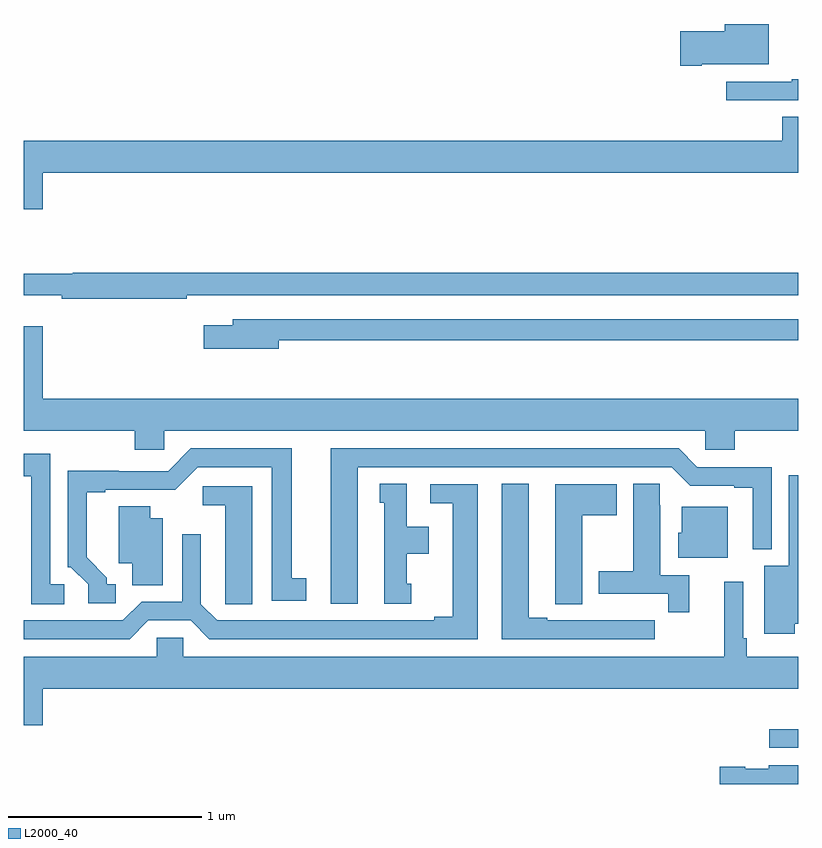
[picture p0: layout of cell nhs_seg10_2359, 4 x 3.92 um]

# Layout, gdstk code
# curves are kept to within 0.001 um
import gdstk
lib = gdstk.Library(unit=1e-6, precision=1e-09)
def R(c, l, rs):  # rectangles x0, y0, x1, y1
    for r in rs: c.add(gdstk.rectangle(r[:2], r[2:], *l))
def P(c, l, *ps):  # polygons
    for p in ps: c.add(gdstk.Polygon(p, *l))
L2000_40 = (2000, 40)

nhs_seg10_2359 = lib.new_cell('nhs_seg10_2359')
R(nhs_seg10_2359, L2000_40, [(240.849,1290.687,241,1290.783)])
P(nhs_seg10_2359, L2000_40, [(240.502,1294.214),(240.847,1294.214),(240.847,1294.423),(240.62,1294.423),(240.62,1294.385),(240.39,1294.385),(240.39,1294.207),(240.502,1294.207)],
  [(241,1294.138),(240.965,1294.138),(240.965,1294.125),(240.627,1294.125),(240.627,1294.029),(241,1294.029)],
  [(237.1,1293.656),(241,1293.656),(241,1293.944),(240.917,1293.944),(240.917,1293.82),(237,1293.82),(237,1293.468),(237.1,1293.468)],
  [(237.842,1293.024),(241,1293.024),(241,1293.14),(237.254,1293.14),(237.254,1293.133),(237,1293.133),(237,1293.023),(237.196,1293.023),(237.196,1293.004),(237.842,1293.004)],
  [(238.318,1292.79),(241,1292.79),(241,1292.898),(238.079,1292.898),(238.079,1292.869),(237.93,1292.869),(237.93,1292.747),(238.318,1292.747)],
  [(237.726,1292.324),(240.519,1292.324),(240.519,1292.226),(240.671,1292.226),(240.671,1292.324),(241,1292.324),(241,1292.488),(237.1,1292.488),(237.1,1292.863),(237,1292.863),(237,1292.324),(237.575,1292.324),(237.575,1292.226),(237.726,1292.226)],
  [(238.726,1292.136),(240.345,1292.136),(240.441,1292.04),(240.668,1292.04),(240.668,1292.028),(240.764,1292.028),(240.764,1291.712),(240.861,1291.712),(240.861,1292.136),(240.477,1292.136),(240.381,1292.232),(238.586,1292.232),(238.586,1291.431),(238.726,1291.431)],
  [(237.475,1291.53),(237.43,1291.53),(237.43,1291.565),(237.325,1291.67),(237.325,1292.007),(237.421,1292.007),(237.421,1292.019),(237.782,1292.018),(237.9,1292.136),(238.28,1292.136),(238.28,1291.446),(238.459,1291.446),(238.459,1291.562),(238.384,1291.562),(238.384,1292.232),(237.864,1292.232),(237.747,1292.115),(237.491,1292.115),(237.491,1292.117),(237.228,1292.117),(237.228,1291.62),(237.243,1291.62),(237.333,1291.53),(237.333,1291.434),(237.475,1291.434)],
  [(237.211,1291.53),(237.138,1291.53),(237.138,1292.205),(237,1292.205),(237,1292.089),(237.041,1292.089),(237.041,1291.429),(237.211,1291.429)],
  [(240.982,1291.328),(241,1291.328),(241,1292.095),(240.951,1292.095),(240.951,1291.627),(240.824,1291.627),(240.824,1291.275),(240.982,1291.275)],
  [(240.259,1291.344),(240.146,1291.344),(240.146,1291.345),(239.98,1291.345),(239.98,1291.344),(239.704,1291.344),(239.704,1291.359),(239.608,1291.359),(239.608,1292.051),(239.468,1292.051),(239.468,1291.248),(240.259,1291.248)],
  [(240.437,1291.578),(240.286,1291.578),(240.286,1291.94),(240.285,1291.94),(240.285,1292.051),(240.146,1292.051),(240.146,1291.599),(239.969,1291.599),(239.969,1291.482),(240.328,1291.482),(240.328,1291.386),(240.437,1291.386)],
  [(239.002,1291.533),(238.978,1291.533),(238.978,1291.688),(239.092,1291.688),(239.092,1291.828),(238.978,1291.828),(238.978,1292.051),(238.838,1292.051),(238.838,1291.953),(238.862,1291.953),(238.862,1291.431),(239.002,1291.431)],
  [(239.884,1291.888),(240.061,1291.888),(240.061,1292.047),(239.744,1292.047),(239.744,1291.537),(239.745,1291.537),(239.745,1291.429),(239.884,1291.429)],
  [(237.645,1291.344),(237.863,1291.344),(237.959,1291.248),(239.344,1291.248),(239.344,1292.046),(239.1,1292.046),(239.1,1291.95),(239.216,1291.95),(239.216,1291.364),(239.12,1291.364),(239.12,1291.344),(237.999,1291.344),(237.915,1291.428),(237.915,1291.789),(237.819,1291.789),(237.819,1291.44),(237.609,1291.44),(237.513,1291.344),(237,1291.344),(237,1291.248),(237.549,1291.248)],
  [(238.18,1292.037),(237.924,1292.037),(237.924,1291.94),(238.04,1291.94),(238.04,1291.537),(238.041,1291.537),(238.041,1291.429),(238.18,1291.429)],
  [(237.718,1291.873),(237.655,1291.873),(237.655,1291.934),(237.491,1291.934),(237.491,1291.64),(237.56,1291.64),(237.56,1291.525),(237.718,1291.525)],
  [(240.634,1291.93),(240.398,1291.93),(240.398,1291.797),(240.38,1291.797),(240.38,1291.667),(240.634,1291.667)],
  [(237.1,1290.992),(241,1290.992),(241,1291.156),(240.734,1291.156),(240.734,1291.252),(240.714,1291.252),(240.714,1291.543),(240.617,1291.543),(240.617,1291.156),(237.825,1291.156),(237.825,1291.254),(237.687,1291.254),(237.687,1291.156),(237,1291.156),(237,1290.804),(237.1,1290.804)],
  [(241,1290.598),(240.846,1290.598),(240.846,1290.58),(240.726,1290.58),(240.726,1290.588),(240.594,1290.588),(240.594,1290.5),(241,1290.5)])

lib.write_gds('nhs_seg10_2359.gds')
